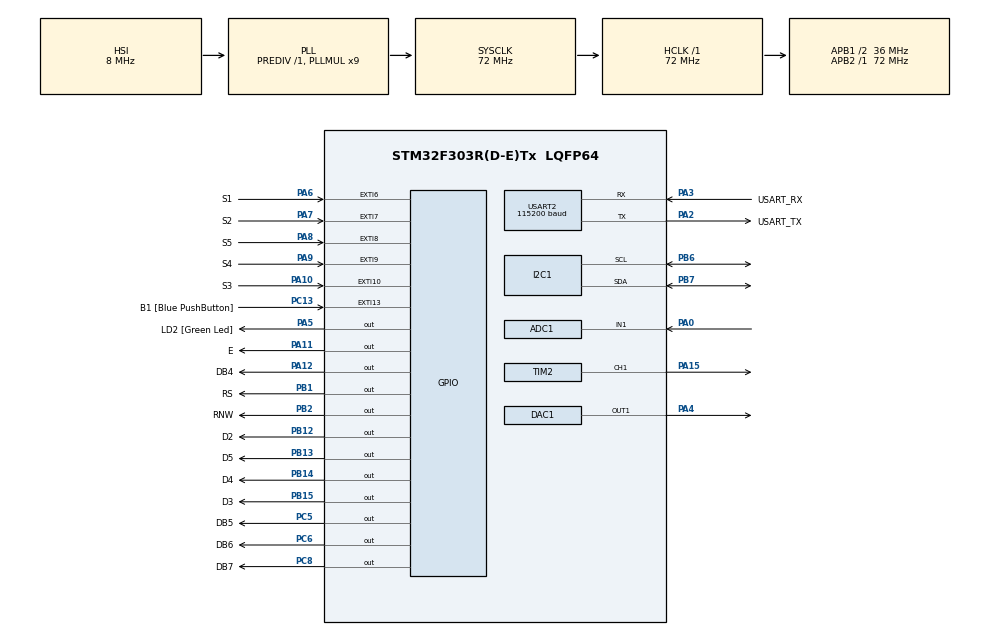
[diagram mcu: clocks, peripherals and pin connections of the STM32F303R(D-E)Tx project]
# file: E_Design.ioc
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ADC1.Channel-10\#ChannelRegularConversion=ADC_CHANNEL_1
ADC1.Channel-11\#ChannelRegularConversion=ADC_CHANNEL_1
ADC1.Channel-12\#ChannelRegularConversion=ADC_CHANNEL_1
ADC1.Channel-13\#ChannelRegularConversion=ADC_CHANNEL_1
ADC1.Channel-14\#ChannelRegularConversion=ADC_CHANNEL_1
ADC1.Channel-15\#ChannelRegularConversion=ADC_CHANNEL_1
ADC1.Channel-16\#ChannelRegularConversion=ADC_CHANNEL_1
ADC1.Channel-17\#ChannelRegularConversion=ADC_CHANNEL_1
ADC1.Channel-3\#ChannelRegularConversion=ADC_CHANNEL_1
ADC1.Channel-4\#ChannelRegularConversion=ADC_CHANNEL_1
ADC1.Channel-5\#ChannelRegularConversion=ADC_CHANNEL_1
ADC1.Channel-6\#ChannelRegularConversion=ADC_CHANNEL_1
ADC1.Channel-7\#ChannelRegularConversion=ADC_CHANNEL_1
ADC1.Channel-8\#ChannelRegularConversion=ADC_CHANNEL_1
ADC1.Channel-9\#ChannelRegularConversion=ADC_CHANNEL_1
ADC1.EOCSelection=ADC_EOC_SINGLE_CONV
ADC1.NbrOfConversion=15
ADC1.NbrOfConversionFlag=1
ADC1.Offset-10\#ChannelRegularConversion=0
ADC1.Offset-11\#ChannelRegularConversion=0
ADC1.Offset-12\#ChannelRegularConversion=0
ADC1.Offset-13\#ChannelRegularConversion=0
ADC1.Offset-14\#ChannelRegularConversion=0
ADC1.Offset-15\#ChannelRegularConversion=0
ADC1.Offset-16\#ChannelRegularConversion=0
ADC1.Offset-17\#ChannelRegularConversion=0
ADC1.Offset-3\#ChannelRegularConversion=0
ADC1.Offset-4\#ChannelRegularConversion=0
ADC1.Offset-5\#ChannelRegularConversion=0
ADC1.Offset-6\#ChannelRegularConversion=0
ADC1.Offset-7\#ChannelRegularConversion=0
ADC1.Offset-8\#ChannelRegularConversion=0
ADC1.Offset-9\#ChannelRegularConversion=0
ADC1.OffsetNumber-10\#ChannelRegularConversion=ADC_OFFSET_NONE
ADC1.OffsetNumber-11\#ChannelRegularConversion=ADC_OFFSET_NONE
ADC1.OffsetNumber-12\#ChannelRegularConversion=ADC_OFFSET_NONE
ADC1.OffsetNumber-13\#ChannelRegularConversion=ADC_OFFSET_NONE
ADC1.OffsetNumber-14\#ChannelRegularConversion=ADC_OFFSET_NONE
ADC1.OffsetNumber-15\#ChannelRegularConversion=ADC_OFFSET_NONE
ADC1.OffsetNumber-16\#ChannelRegularConversion=ADC_OFFSET_NONE
ADC1.OffsetNumber-17\#ChannelRegularConversion=ADC_OFFSET_NONE
ADC1.OffsetNumber-3\#ChannelRegularConversion=ADC_OFFSET_NONE
ADC1.OffsetNumber-4\#ChannelRegularConversion=ADC_OFFSET_NONE
ADC1.OffsetNumber-5\#ChannelRegularConversion=ADC_OFFSET_NONE
ADC1.OffsetNumber-6\#ChannelRegularConversion=ADC_OFFSET_NONE
ADC1.OffsetNumber-7\#ChannelRegularConversion=ADC_OFFSET_NONE
ADC1.OffsetNumber-8\#ChannelRegularConversion=ADC_OFFSET_NONE
ADC1.OffsetNumber-9\#ChannelRegularConversion=ADC_OFFSET_NONE
ADC1.Rank-10\#ChannelRegularConversion=8
ADC1.Rank-11\#ChannelRegularConversion=9
ADC1.Rank-12\#ChannelRegularConversion=10
ADC1.Rank-13\#ChannelRegularConversion=11
ADC1.Rank-14\#ChannelRegularConversion=12
ADC1.Rank-15\#ChannelRegularConversion=13
ADC1.Rank-16\#ChannelRegularConversion=14
ADC1.Rank-17\#ChannelRegularConversion=15
ADC1.Rank-3\#ChannelRegularConversion=1
ADC1.Rank-4\#ChannelRegularConversion=2
ADC1.Rank-5\#ChannelRegularConversion=3
ADC1.Rank-6\#ChannelRegularConversion=4
ADC1.Rank-7\#ChannelRegularConversion=5
ADC1.Rank-8\#ChannelRegularConversion=6
ADC1.Rank-9\#ChannelRegularConversion=7
ADC1.SamplingTime-10\#ChannelRegularConversion=ADC_SAMPLETIME_1CYCLE_5
ADC1.SamplingTime-11\#ChannelRegularConversion=ADC_SAMPLETIME_1CYCLE_5
ADC1.SamplingTime-12\#ChannelRegularConversion=ADC_SAMPLETIME_1CYCLE_5
ADC1.SamplingTime-13\#ChannelRegularConversion=ADC_SAMPLETIME_1CYCLE_5
ADC1.SamplingTime-14\#ChannelRegularConversion=ADC_SAMPLETIME_1CYCLE_5
ADC1.SamplingTime-15\#ChannelRegularConversion=ADC_SAMPLETIME_1CYCLE_5
ADC1.SamplingTime-16\#ChannelRegularConversion=ADC_SAMPLETIME_1CYCLE_5
ADC1.SamplingTime-17\#ChannelRegularConversion=ADC_SAMPLETIME_1CYCLE_5
ADC1.SamplingTime-3\#ChannelRegularConversion=ADC_SAMPLETIME_1CYCLE_5
ADC1.SamplingTime-4\#ChannelRegularConversion=ADC_SAMPLETIME_1CYCLE_5
ADC1.SamplingTime-5\#ChannelRegularConversion=ADC_SAMPLETIME_1CYCLE_5
ADC1.SamplingTime-6\#ChannelRegularConversion=ADC_SAMPLETIME_1CYCLE_5
ADC1.SamplingTime-7\#ChannelRegularConversion=ADC_SAMPLETIME_1CYCLE_5
ADC1.SamplingTime-8\#ChannelRegularConversion=ADC_SAMPLETIME_1CYCLE_5
ADC1.SamplingTime-9\#ChannelRegularConversion=ADC_SAMPLETIME_1CYCLE_5
ADC1.master=1
Dma.ADC1.0.Direction=DMA_PERIPH_TO_MEMORY
Dma.ADC1.0.Instance=DMA1_Channel1
Dma.ADC1.0.MemDataAlignment=DMA_MDATAALIGN_HALFWORD
Dma.ADC1.0.MemInc=DMA_MINC_ENABLE
Dma.ADC1.0.Mode=DMA_NORMAL
Dma.ADC1.0.PeriphDataAlignment=DMA_PDATAALIGN_HALFWORD
Dma.ADC1.0.PeriphInc=DMA_PINC_DISABLE
Dma.ADC1.0.Priority=DMA_PRIORITY_LOW
Dma.Request0=ADC1
Mcu.Family=STM32F3
Mcu.Name=STM32F303R(D-E)Tx
Mcu.Package=LQFP64
NVIC.DMA1_Channel1_IRQn=true\:0\:0\:false\:false\:true\:false\:true
NVIC.EXTI15_10_IRQn=true\:0\:0\:false\:false\:true\:true\:true
NVIC.EXTI9_5_IRQn=true\:0\:0\:false\:false\:true\:true\:true
NVIC.PriorityGroup=NVIC_PRIORITYGROUP_0
NVIC.USART2_IRQn=true\:0\:0\:false\:false\:true\:true\:true
PA0.Mode=IN1-Single-Ended
PA0.Signal=ADC1_IN1
PA10.GPIO_Label=S3
PA10.GPIO_PuPd=GPIO_PULLUP
PA10.Signal=GPXTI10
PA11.GPIO_Label=E
PA11.GPIO_PuPd=GPIO_PULLDOWN
PA11.Signal=GPIO_Output
PA12.GPIO_Label=DB4
PA12.GPIO_PuPd=GPIO_PULLDOWN
PA12.Signal=GPIO_Output
PA13.GPIO_Label=TMS
PA13.Mode=Serial_Wire
PA13.Signal=SYS_JTMS-SWDIO
PA14.GPIO_Label=TCK
PA14.Mode=Serial_Wire
PA14.Signal=SYS_JTCK-SWCLK
PA15.Signal=S_TIM2_CH1_ETR
PA2.GPIO_Label=USART_TX
PA2.GPIO_Mode=GPIO_MODE_AF_PP
PA2.GPIO_PuPd=GPIO_NOPULL
PA2.GPIO_Speed=GPIO_SPEED_FREQ_LOW
PA2.Mode=Asynchronous
PA2.Signal=USART2_TX
PA3.GPIO_Label=USART_RX
PA3.GPIO_Mode=GPIO_MODE_AF_PP
PA3.GPIO_PuPd=GPIO_NOPULL
PA3.GPIO_Speed=GPIO_SPEED_FREQ_LOW
PA3.Mode=Asynchronous
PA3.Signal=USART2_RX
PA4.Signal=COMP_DAC11_group
PA5.GPIO_Label=LD2 [Green Led]
PA5.GPIO_Mode=GPIO_MODE_OUTPUT_PP
PA5.GPIO_PuPd=GPIO_NOPULL
PA5.GPIO_Speed=GPIO_SPEED_FREQ_LOW
PA5.Signal=GPIO_Output
PA6.GPIO_Label=S1
PA6.GPIO_PuPd=GPIO_PULLUP
PA6.Signal=GPXTI6
PA7.GPIO_Label=S2
PA7.GPIO_PuPd=GPIO_PULLUP
PA7.Signal=GPXTI7
PA8.GPIO_Label=S5
PA8.GPIO_PuPd=GPIO_PULLUP
PA8.Signal=GPXTI8
PA9.GPIO_Label=S4
PA9.GPIO_ModeDefaultEXTI=GPIO_MODE_IT_RISING_FALLING
PA9.GPIO_PuPd=GPIO_PULLUP
PA9.Signal=GPXTI9
PB1.GPIO_Label=RS
PB1.GPIO_PuPd=GPIO_PULLDOWN
PB1.Signal=GPIO_Output
PB12.GPIO_Label=D2
PB12.Signal=GPIO_Output
PB13.GPIO_Label=D5
PB13.Signal=GPIO_Output
PB14.GPIO_Label=D4
PB14.Signal=GPIO_Output
PB15.GPIO_Label=D3
PB15.Signal=GPIO_Output
PB2.GPIO_Label=RNW
PB2.GPIO_PuPd=GPIO_PULLDOWN
PB2.Signal=GPIO_Output
PB3.GPIO_Label=SWO
PB3.Signal=SYS_JTDO-TRACESWO
PB6.Mode=I2C
PB6.Signal=I2C1_SCL
PB7.Mode=I2C
PB7.Signal=I2C1_SDA
PC13.GPIO_Label=B1 [Blue PushButton]
PC13.GPIO_ModeDefaultEXTI=GPIO_MODE_IT_FALLING
PC13.Signal=GPXTI13
PC14-OSC32_IN.Mode=LSE-External-Oscillator
PC14-OSC32_IN.Signal=RCC_OSC32_IN
PC15-OSC32_OUT.Mode=LSE-External-Oscillator
PC15-OSC32_OUT.Signal=RCC_OSC32_OUT
PC5.GPIO_Label=DB5
PC5.GPIO_PuPd=GPIO_PULLDOWN
PC5.Signal=GPIO_Output
PC6.GPIO_Label=DB6
PC6.GPIO_PuPd=GPIO_PULLDOWN
PC6.Signal=GPIO_Output
PC8.GPIO_Label=DB7
PC8.GPIO_PuPd=GPIO_PULLDOWN
PC8.Signal=GPIO_Output
PF0-OSC_IN.Mode=HSE-External-Clock-Source
PF0-OSC_IN.Signal=RCC_OSC_IN
PF1-OSC_OUT.Signal=RCC_OSC_OUT
ProjectManager.HeapSize=0x200
ProjectManager.StackSize=0x400
ProjectManager.TargetToolchain=STM32CubeIDE
RCC.AHBFreq_Value=72000000
RCC.APB1CLKDivider=RCC_HCLK_DIV2
RCC.APB1Freq_Value=36000000
RCC.APB1TimFreq_Value=72000000
RCC.APB2Freq_Value=72000000
RCC.APB2TimFreq_Value=72000000
RCC.CortexFreq_Value=72000000
RCC.HCLKFreq_Value=72000000
RCC.HSE_VALUE=8000000
RCC.HSI_VALUE=8000000
RCC.PLLM=8
RCC.PLLMUL=RCC_PLL_MUL9
RCC.PLLN=336
RCC.PLLP=RCC_PLLP_DIV4
RCC.PLLQ=7
RCC.RCC_PLLsource_Clock_Source_FROM_HSE=RCC_HSE_PREDIV_DIV2
RCC.SYSCLKFreq_VALUE=72000000
RCC.SYSCLKSourceVirtual=RCC_SYSCLKSOURCE_PLLCLK
RCC.USBFreq_Value=72000000
SH.COMP_DAC11_group.0=DAC1_OUT1,DAC_OUT1
SH.S_TIM2_CH1_ETR.0=TIM2_CH1,Output Compare1 CH1
TIM2.Channel-Output\ Compare1\ CH1=TIM_CHANNEL_1
TIM2.TIM_MasterOutputTrigger=TIM_TRGO_ENABLE
USART2.BaudRate=115200
USART2.VirtualMode-Asynchronous=VM_ASYNC
VP_TIM2_VS_ClockSourceINT.Mode=Internal
board=NUCLEO-F303RE

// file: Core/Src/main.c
/* USER CODE BEGIN Header */
/**
  ******************************************************************************
  * @file           : main.c
  * @brief          : Main program body
  ******************************************************************************
  * @attention
  *
  * Copyright (c) 2022 STMicroelectronics.
  * All rights reserved.
  *
  * This software is licensed under terms that can be found in the LICENSE file
  * in the root directory of this software component.
  * If no LICENSE file comes with this software, it is provided AS-IS.
  *
  ******************************************************************************
  */
/* USER CODE END Header */
#include "main.h"

/* USER CODE BEGIN Includes */
#include "userFunctions.h"
/* USER CODE END Includes */

ADC_HandleTypeDef hadc1;
DMA_HandleTypeDef hdma_adc1;

DAC_HandleTypeDef hdac1;

I2C_HandleTypeDef hi2c1;

TIM_HandleTypeDef htim2;

UART_HandleTypeDef huart2;

/* USER CODE BEGIN PV */
uint8_t rxdata[11];
uint8_t debug = 1;//debug
/* USER CODE END PV */

void SystemClock_Config(void);
static void MX_GPIO_Init(void);
static void MX_USART2_UART_Init(void);
static void MX_DMA_Init(void);
static void MX_ADC1_Init(void);
static void MX_TIM2_Init(void);
static void MX_I2C1_Init(void);
static void MX_DAC1_Init(void);

/* USER CODE BEGIN 0 */
void HAL_UART_RxCpltCallback(UART_HandleTypeDef *huart)
{

	if(rxdata[0] == '@'){
		rxdata[11] = rxdata[2];
		switch(rxdata[2]){
			case '#'://Display LCD
				HAL_UART_Receive_IT(&huart2,rxdata,7);
				break;
			case '$'://Set Measure Mode
				HAL_UART_Receive_IT(&huart2,rxdata,6);
				break;
			case '"'://Set output Parameter
				HAL_UART_Receive_IT(&huart2,rxdata,10);
				break;
			case '*':
				HAL_UART_Receive_IT(&huart2,rxdata,7);
				break;
		}
	}else if(rxdata[0] == ','){
		switch(rxdata[11]){
			case '#'://Display LCD
				break;
			case '$'://Set Measure Mode
				rxMessage(rxdata,6);
				setMeasMode();
				break;
			case '"'://Set output Parameter
				break;
			case '*':

				rxMessage(rxdata,7);
				if(rxdata[1]=='s'){
					rqStatus(huart2);
				}else if(rxdata[1]=='m'){
					rqMeas(huart2,hadc1);
				}
				break;
		}
		HAL_UART_Receive_IT(&huart2,rxdata,3);
	}
}

void HAL_GPIO_EXTI_Callback(uint16_t GPIO_Pin){
	if(GPIO_Pin == GPIO_PIN_10){//S3 - Middle button
		updateMenuState();
		setLEDs();
	}

}
/* USER CODE END 0 */

int main(void)
{

  /* MCU Configuration--------------------------------------------------------*/

  /* Reset of all peripherals, Initializes the Flash interface and the Systick. */
  HAL_Init();

  /* Configure the system clock */
  SystemClock_Config();

  /* Initialize all configured peripherals */
  MX_GPIO_Init();
  MX_USART2_UART_Init();
  MX_DMA_Init();
  MX_ADC1_Init();
  MX_TIM2_Init();
  MX_I2C1_Init();
  MX_DAC1_Init();
  /* USER CODE BEGIN 2 */
  initialiseLCD();
  displayLCD((uint8_t *)"00");
  HAL_UART_Transmit(&huart2,(uint8_t *)"@,20725728,!\n",13,500);

  HAL_UART_Receive_IT(&huart2,rxdata,3);

  /* USER CODE END 2 */

  /* Infinite loop */
  /* USER CODE BEGIN WHILE */
  while (1)
  {
	  setLEDs();
    /* USER CODE END WHILE */

  }
}

void SystemClock_Config(void)
{
  RCC_OscInitTypeDef RCC_OscInitStruct = {0};
  RCC_ClkInitTypeDef RCC_ClkInitStruct = {0};
  RCC_PeriphCLKInitTypeDef PeriphClkInit = {0};

  /** Initializes the RCC Oscillators according to the specified parameters
  * in the RCC_OscInitTypeDef structure.
  */
  RCC_OscInitStruct.OscillatorType = RCC_OSCILLATORTYPE_HSI;
  RCC_OscInitStruct.HSIState = RCC_HSI_ON;
  RCC_OscInitStruct.HSICalibrationValue = RCC_HSICALIBRATION_DEFAULT;
  RCC_OscInitStruct.PLL.PLLState = RCC_PLL_ON;
  RCC_OscInitStruct.PLL.PLLSource = RCC_PLLSOURCE_HSI;
  RCC_OscInitStruct.PLL.PLLMUL = RCC_PLL_MUL9;
  RCC_OscInitStruct.PLL.PREDIV = RCC_PREDIV_DIV1;
  if (HAL_RCC_OscConfig(&RCC_OscInitStruct) != HAL_OK)
  {
    Error_Handler();
  }
  /** Initializes the CPU, AHB and APB buses clocks
  */
  RCC_ClkInitStruct.ClockType = RCC_CLOCKTYPE_HCLK|RCC_CLOCKTYPE_SYSCLK
                              |RCC_CLOCKTYPE_PCLK1|RCC_CLOCKTYPE_PCLK2;
  RCC_ClkInitStruct.SYSCLKSource = RCC_SYSCLKSOURCE_PLLCLK;
  RCC_ClkInitStruct.AHBCLKDivider = RCC_SYSCLK_DIV1;
  RCC_ClkInitStruct.APB1CLKDivider = RCC_HCLK_DIV2;
  RCC_ClkInitStruct.APB2CLKDivider = RCC_HCLK_DIV1;

  if (HAL_RCC_ClockConfig(&RCC_ClkInitStruct, FLASH_LATENCY_2) != HAL_OK)
  {
    Error_Handler();
  }
  PeriphClkInit.PeriphClockSelection = RCC_PERIPHCLK_USART2|RCC_PERIPHCLK_I2C1
                              |RCC_PERIPHCLK_ADC12|RCC_PERIPHCLK_TIM2;
  PeriphClkInit.Usart2ClockSelection = RCC_USART2CLKSOURCE_PCLK1;
  PeriphClkInit.Adc12ClockSelection = RCC_ADC12PLLCLK_DIV1;
  PeriphClkInit.I2c1ClockSelection = RCC_I2C1CLKSOURCE_HSI;
  PeriphClkInit.Tim2ClockSelection = RCC_TIM2CLK_HCLK;
  if (HAL_RCCEx_PeriphCLKConfig(&PeriphClkInit) != HAL_OK)
  {
    Error_Handler();
  }
}

static void MX_ADC1_Init(void)
{

  ADC_MultiModeTypeDef multimode = {0};
  ADC_ChannelConfTypeDef sConfig = {0};

  /** Common config
  */
  hadc1.Instance = ADC1;
  hadc1.Init.ClockPrescaler = ADC_CLOCK_ASYNC_DIV1;
  hadc1.Init.Resolution = ADC_RESOLUTION_12B;
  hadc1.Init.ScanConvMode = ADC_SCAN_ENABLE;
  hadc1.Init.ContinuousConvMode = DISABLE;
  hadc1.Init.DiscontinuousConvMode = DISABLE;
  hadc1.Init.ExternalTrigConvEdge = ADC_EXTERNALTRIGCONVEDGE_NONE;
  hadc1.Init.ExternalTrigConv = ADC_SOFTWARE_START;
  hadc1.Init.DataAlign = ADC_DATAALIGN_RIGHT;
  hadc1.Init.NbrOfConversion = 15;
  hadc1.Init.DMAContinuousRequests = DISABLE;
  hadc1.Init.EOCSelection = ADC_EOC_SINGLE_CONV;
  hadc1.Init.LowPowerAutoWait = DISABLE;
  hadc1.Init.Overrun = ADC_OVR_DATA_OVERWRITTEN;
  if (HAL_ADC_Init(&hadc1) != HAL_OK)
  {
    Error_Handler();
  }
  /** Configure the ADC multi-mode
  */
  multimode.Mode = ADC_MODE_INDEPENDENT;
  if (HAL_ADCEx_MultiModeConfigChannel(&hadc1, &multimode) != HAL_OK)
  {
    Error_Handler();
  }
  /** Configure Regular Channel
  */
  sConfig.Channel = ADC_CHANNEL_1;
  sConfig.Rank = ADC_REGULAR_RANK_1;
  sConfig.SingleDiff = ADC_SINGLE_ENDED;
  sConfig.SamplingTime = ADC_SAMPLETIME_1CYCLE_5;
  sConfig.OffsetNumber = ADC_OFFSET_NONE;
  sConfig.Offset = 0;
  if (HAL_ADC_ConfigChannel(&hadc1, &sConfig) != HAL_OK)
  {
    Error_Handler();
  }
  /** Configure Regular Channel
  */
  sConfig.Rank = ADC_REGULAR_RANK_2;
  if (HAL_ADC_ConfigChannel(&hadc1, &sConfig) != HAL_OK)
  {
    Error_Handler();
  }
  /** Configure Regular Channel
  */
  sConfig.Rank = ADC_REGULAR_RANK_3;
  if (HAL_ADC_ConfigChannel(&hadc1, &sConfig) != HAL_OK)
  {
    Error_Handler();
  }
  /** Configure Regular Channel
  */
  sConfig.Rank = ADC_REGULAR_RANK_4;
  if (HAL_ADC_ConfigChannel(&hadc1, &sConfig) != HAL_OK)
  {
    Error_Handler();
  }
  /** Configure Regular Channel
  */
  sConfig.Rank = ADC_REGULAR_RANK_5;
  if (HAL_ADC_ConfigChannel(&hadc1, &sConfig) != HAL_OK)
  {
    Error_Handler();
  }
  /** Configure Regular Channel
  */
  sConfig.Rank = ADC_REGULAR_RANK_6;
  if (HAL_ADC_ConfigChannel(&hadc1, &sConfig) != HAL_OK)
  {
    Error_Handler();
  }
  /** Configure Regular Channel
  */
  sConfig.Rank = ADC_REGULAR_RANK_7;
  if (HAL_ADC_ConfigChannel(&hadc1, &sConfig) != HAL_OK)
  {
    Error_Handler();
  }
  /** Configure Regular Channel
  */
  sConfig.Rank = ADC_REGULAR_RANK_8;
  if (HAL_ADC_ConfigChannel(&hadc1, &sConfig) != HAL_OK)
  {
    Error_Handler();
  }
  /** Configure Regular Channel
  */
  sConfig.Rank = ADC_REGULAR_RANK_9;
  if (HAL_ADC_ConfigChannel(&hadc1, &sConfig) != HAL_OK)
  {
    Error_Handler();
  }
  /** Configure Regular Channel
  */
  sConfig.Rank = ADC_REGULAR_RANK_10;
  if (HAL_ADC_ConfigChannel(&hadc1, &sConfig) != HAL_OK)
  {
    Error_Handler();
  }
  /** Configure Regular Channel
  */
  sConfig.Rank = ADC_REGULAR_RANK_11;
  if (HAL_ADC_ConfigChannel(&hadc1, &sConfig) != HAL_OK)
  {
    Error_Handler();
  }
  /** Configure Regular Channel
  */
  sConfig.Rank = ADC_REGULAR_RANK_12;
  if (HAL_ADC_ConfigChannel(&hadc1, &sConfig) != HAL_OK)
  {
    Error_Handler();
  }
  /** Configure Regular Channel
  */
  sConfig.Rank = ADC_REGULAR_RANK_13;
  if (HAL_ADC_ConfigChannel(&hadc1, &sConfig) != HAL_OK)
  {
    Error_Handler();
  }
  /** Configure Regular Channel
  */
  sConfig.Rank = ADC_REGULAR_RANK_14;
  if (HAL_ADC_ConfigChannel(&hadc1, &sConfig) != HAL_OK)
  {
    Error_Handler();
  }
  /** Configure Regular Channel
  */
  sConfig.Rank = ADC_REGULAR_RANK_15;
  if (HAL_ADC_ConfigChannel(&hadc1, &sConfig) != HAL_OK)
  {
    Error_Handler();
  }

}

static void MX_DAC1_Init(void)
{

  DAC_ChannelConfTypeDef sConfig = {0};

  /** DAC Initialization
  */
  hdac1.Instance = DAC1;
  if (HAL_DAC_Init(&hdac1) != HAL_OK)
  {
    Error_Handler();
  }
  /** DAC channel OUT1 config
  */
  sConfig.DAC_Trigger = DAC_TRIGGER_NONE;
  sConfig.DAC_OutputBuffer = DAC_OUTPUTBUFFER_ENABLE;
  if (HAL_DAC_ConfigChannel(&hdac1, &sConfig, DAC_CHANNEL_1) != HAL_OK)
  {
    Error_Handler();
  }

}

static void MX_I2C1_Init(void)
{

  hi2c1.Instance = I2C1;
  hi2c1.Init.Timing = 0x2000090E;
  hi2c1.Init.OwnAddress1 = 0;
  hi2c1.Init.AddressingMode = I2C_ADDRESSINGMODE_7BIT;
  hi2c1.Init.DualAddressMode = I2C_DUALADDRESS_DISABLE;
  hi2c1.Init.OwnAddress2 = 0;
  hi2c1.Init.OwnAddress2Masks = I2C_OA2_NOMASK;
  hi2c1.Init.GeneralCallMode = I2C_GENERALCALL_DISABLE;
  hi2c1.Init.NoStretchMode = I2C_NOSTRETCH_DISABLE;
  if (HAL_I2C_Init(&hi2c1) != HAL_OK)
  {
    Error_Handler();
  }
  /** Configure Analogue filter
  */
  if (HAL_I2CEx_ConfigAnalogFilter(&hi2c1, I2C_ANALOGFILTER_ENABLE) != HAL_OK)
  {
    Error_Handler();
  }
  /** Configure Digital filter
  */
  if (HAL_I2CEx_ConfigDigitalFilter(&hi2c1, 0) != HAL_OK)
  {
    Error_Handler();
  }

}

static void MX_TIM2_Init(void)
{

  TIM_ClockConfigTypeDef sClockSourceConfig = {0};
  TIM_MasterConfigTypeDef sMasterConfig = {0};
  TIM_OC_InitTypeDef sConfigOC = {0};

  htim2.Instance = TIM2;
  htim2.Init.Prescaler = 0;
  htim2.Init.CounterMode = TIM_COUNTERMODE_UP;
  htim2.Init.Period = 4294967295;
  htim2.Init.ClockDivision = TIM_CLOCKDIVISION_DIV1;
  htim2.Init.AutoReloadPreload = TIM_AUTORELOAD_PRELOAD_DISABLE;
  if (HAL_TIM_Base_Init(&htim2) != HAL_OK)
  {
    Error_Handler();
  }
  sClockSourceConfig.ClockSource = TIM_CLOCKSOURCE_INTERNAL;
  if (HAL_TIM_ConfigClockSource(&htim2, &sClockSourceConfig) != HAL_OK)
  {
    Error_Handler();
  }
  if (HAL_TIM_OC_Init(&htim2) != HAL_OK)
  {
    Error_Handler();
  }
  sMasterConfig.MasterOutputTrigger = TIM_TRGO_ENABLE;
  sMasterConfig.MasterSlaveMode = TIM_MASTERSLAVEMODE_DISABLE;
  if (HAL_TIMEx_MasterConfigSynchronization(&htim2, &sMasterConfig) != HAL_OK)
  {
    Error_Handler();
  }
  sConfigOC.OCMode = TIM_OCMODE_TIMING;
  sConfigOC.Pulse = 0;
  sConfigOC.OCPolarity = TIM_OCPOLARITY_HIGH;
  sConfigOC.OCFastMode = TIM_OCFAST_DISABLE;
  if (HAL_TIM_OC_ConfigChannel(&htim2, &sConfigOC, TIM_CHANNEL_1) != HAL_OK)
  {
    Error_Handler();
  }
  HAL_TIM_MspPostInit(&htim2);

}

static void MX_USART2_UART_Init(void)
{

  huart2.Instance = USART2;
  huart2.Init.BaudRate = 115200;
  huart2.Init.WordLength = UART_WORDLENGTH_8B;
  huart2.Init.StopBits = UART_STOPBITS_1;
  huart2.Init.Parity = UART_PARITY_NONE;
  huart2.Init.Mode = UART_MODE_TX_RX;
  huart2.Init.HwFlowCtl = UART_HWCONTROL_NONE;
  huart2.Init.OverSampling = UART_OVERSAMPLING_16;
  huart2.Init.OneBitSampling = UART_ONE_BIT_SAMPLE_DISABLE;
  huart2.AdvancedInit.AdvFeatureInit = UART_ADVFEATURE_NO_INIT;
  if (HAL_UART_Init(&huart2) != HAL_OK)
  {
    Error_Handler();
  }

}

static void MX_DMA_Init(void)
{

  /* DMA controller clock enable */
  __HAL_RCC_DMA1_CLK_ENABLE();

  /* DMA interrupt init */
  /* DMA1_Channel1_IRQn interrupt configuration */
  HAL_NVIC_SetPriority(DMA1_Channel1_IRQn, 0, 0);
  HAL_NVIC_EnableIRQ(DMA1_Channel1_IRQn);

}

static void MX_GPIO_Init(void)
{
  GPIO_InitTypeDef GPIO_InitStruct = {0};

  /* GPIO Ports Clock Enable */
  __HAL_RCC_GPIOC_CLK_ENABLE();
  __HAL_RCC_GPIOF_CLK_ENABLE();
  __HAL_RCC_GPIOA_CLK_ENABLE();
  __HAL_RCC_GPIOB_CLK_ENABLE();

  /*Configure GPIO pin Output Level */
  HAL_GPIO_WritePin(GPIOA, LD2_Pin|E_Pin|DB4_Pin, GPIO_PIN_RESET);

  /*Configure GPIO pin Output Level */
  HAL_GPIO_WritePin(GPIOC, DB5_Pin|DB6_Pin|DB7_Pin, GPIO_PIN_RESET);

  /*Configure GPIO pin Output Level */
  HAL_GPIO_WritePin(GPIOB, RS_Pin|RNW_Pin|D2_Pin|D5_Pin
                          |D4_Pin|D3_Pin, GPIO_PIN_RESET);

  /*Configure GPIO pin : B1_Pin */
  GPIO_InitStruct.Pin = B1_Pin;
  GPIO_InitStruct.Mode = GPIO_MODE_IT_FALLING;
  GPIO_InitStruct.Pull = GPIO_NOPULL;
  HAL_GPIO_Init(B1_GPIO_Port, &GPIO_InitStruct);

  /*Configure GPIO pin : LD2_Pin */
  GPIO_InitStruct.Pin = LD2_Pin;
  GPIO_InitStruct.Mode = GPIO_MODE_OUTPUT_PP;
  GPIO_InitStruct.Pull = GPIO_NOPULL;
  GPIO_InitStruct.Speed = GPIO_SPEED_FREQ_LOW;
  HAL_GPIO_Init(LD2_GPIO_Port, &GPIO_InitStruct);

  /*Configure GPIO pins : S1_Pin S2_Pin S5_Pin S3_Pin */
  GPIO_InitStruct.Pin = S1_Pin|S2_Pin|S5_Pin|S3_Pin;
  GPIO_InitStruct.Mode = GPIO_MODE_IT_RISING;
  GPIO_InitStruct.Pull = GPIO_PULLUP;
  HAL_GPIO_Init(GPIOA, &GPIO_InitStruct);

  /*Configure GPIO pins : DB5_Pin DB6_Pin DB7_Pin */
  GPIO_InitStruct.Pin = DB5_Pin|DB6_Pin|DB7_Pin;
  GPIO_InitStruct.Mode = GPIO_MODE_OUTPUT_PP;
  GPIO_InitStruct.Pull = GPIO_PULLDOWN;
  GPIO_InitStruct.Speed = GPIO_SPEED_FREQ_LOW;
  HAL_GPIO_Init(GPIOC, &GPIO_InitStruct);

  /*Configure GPIO pins : RS_Pin RNW_Pin */
  GPIO_InitStruct.Pin = RS_Pin|RNW_Pin;
  GPIO_InitStruct.Mode = GPIO_MODE_OUTPUT_PP;
  GPIO_InitStruct.Pull = GPIO_PULLDOWN;
  GPIO_InitStruct.Speed = GPIO_SPEED_FREQ_LOW;
  HAL_GPIO_Init(GPIOB, &GPIO_InitStruct);

  /*Configure GPIO pins : D2_Pin D5_Pin D4_Pin D3_Pin */
  GPIO_InitStruct.Pin = D2_Pin|D5_Pin|D4_Pin|D3_Pin;
  GPIO_InitStruct.Mode = GPIO_MODE_OUTPUT_PP;
  GPIO_InitStruct.Pull = GPIO_NOPULL;
  GPIO_InitStruct.Speed = GPIO_SPEED_FREQ_LOW;
  HAL_GPIO_Init(GPIOB, &GPIO_InitStruct);

  /*Configure GPIO pin : S4_Pin */
  GPIO_InitStruct.Pin = S4_Pin;
  GPIO_InitStruct.Mode = GPIO_MODE_IT_RISING_FALLING;
  GPIO_InitStruct.Pull = GPIO_PULLUP;
  HAL_GPIO_Init(S4_GPIO_Port, &GPIO_InitStruct);

  /*Configure GPIO pins : E_Pin DB4_Pin */
  GPIO_InitStruct.Pin = E_Pin|DB4_Pin;
  GPIO_InitStruct.Mode = GPIO_MODE_OUTPUT_PP;
  GPIO_InitStruct.Pull = GPIO_PULLDOWN;
  GPIO_InitStruct.Speed = GPIO_SPEED_FREQ_LOW;
  HAL_GPIO_Init(GPIOA, &GPIO_InitStruct);

  /* EXTI interrupt init*/
  HAL_NVIC_SetPriority(EXTI9_5_IRQn, 0, 0);
  HAL_NVIC_EnableIRQ(EXTI9_5_IRQn);

  HAL_NVIC_SetPriority(EXTI15_10_IRQn, 0, 0);
  HAL_NVIC_EnableIRQ(EXTI15_10_IRQn);

}

void Error_Handler(void)
{
  __disable_irq();
  while (1)
  {
  }
}
